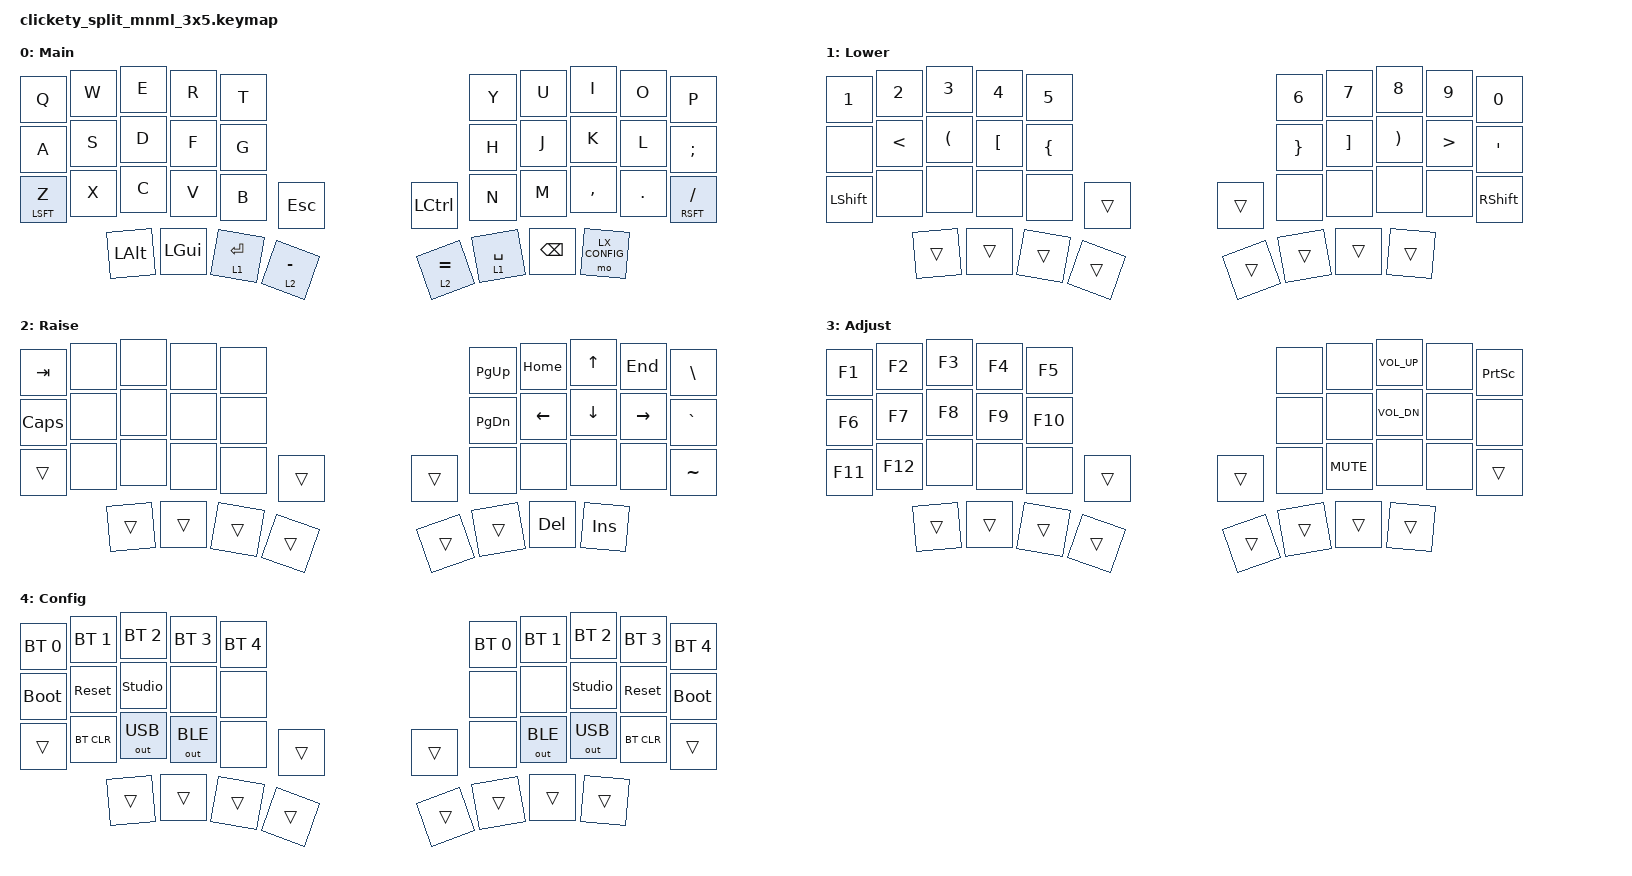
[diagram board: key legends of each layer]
/*
 * Copyright (c) 2025 Clickety Split Ltd.
 * SPDX-License-Identifier: MIT
 */

#include <behaviors.dtsi>
#include <dt-bindings/zmk/outputs.h>
#include <dt-bindings/zmk/keys.h>
#include <dt-bindings/zmk/bt.h>

#define LX_MAIN     0 // Main
#define LX_LOWER    1 // Lower
#define LX_RAISE    2 // Raise
#define LX_ADJUST   3 // Adjust
#define LX_CONFIG   4 // Config

/ {
    conditional_layers {
        compatible = "zmk,conditional-layers";
        lower_raise_adjust {
            if-layers = <LX_LOWER LX_RAISE>;
            then-layer = <LX_ADJUST>;
        };
    };

    keymap {
        compatible = "zmk,keymap";

        default_layer {
            // Leading space provides visual separation from the layer icon.
            // Layer references: 1 = Lower, 2 = Raise
            display-name = " Main";
            bindings = <
                &kp Q         &kp W         &kp E           &kp R         &kp T                                      &kp Y         &kp U        &kp I            &kp O         &kp P
                &kp A         &kp S         &kp D           &kp F         &kp G                                      &kp H         &kp J        &kp K            &kp L         &kp SEMI
                &mt LSFT Z    &kp X         &kp C           &kp V         &kp B         &kp ESC         &kp LCTRL    &kp N         &kp M        &kp COMMA        &kp DOT       &mt RSFT FSLH
                                            &kp LALT        &kp LGUI      &lt 1 RET     &lt 2 MINUS     &lt 2 EQUAL  &lt 1 SPACE   &kp BSPC     &mo LX_CONFIG
            >;
        };

        lower_layer {
            display-name = " Lower";
            bindings = <
                &kp N1        &kp N2        &kp N3          &kp N4        &kp N5                                     &kp N6        &kp N7        &kp N8          &kp N9        &kp N0
                &none         &kp LT        &kp LPAR        &kp LBKT      &kp LBRC                                   &kp RBRC      &kp RBKT      &kp RPAR        &kp GT        &kp QUOT
                &kp LSHFT     &none         &none           &none         &none         &trans          &trans       &none         &none         &none           &none         &kp RSHFT
                                            &trans          &trans        &trans        &trans          &trans       &trans        &trans        &trans
            >;
        };

        raise_layer {
            display-name = " Raise";
            bindings = <
                &kp TAB       &none         &none           &none         &none                                      &kp PG_UP     &kp HOME      &kp UP          &kp END       &kp BSLH
                &kp CAPS      &none         &none           &none         &none                                      &kp PG_DN     &kp LEFT      &kp DOWN        &kp RIGHT     &kp GRAVE
                &trans        &none         &none           &none         &none         &trans          &trans       &none         &none         &none           &none         &kp TILDE
                                            &trans          &trans        &trans        &trans          &trans       &trans        &kp DEL       &kp INS
            >;
        };

        adjust_layer {
            display-name = " Adjust";
            bindings = <
                &kp F1        &kp F2        &kp F3          &kp F4        &kp F5                                     &none         &none         &kp C_VOL_UP    &none         &kp PSCRN
                &kp F6        &kp F7        &kp F8          &kp F9        &kp F10                                    &none         &none         &kp C_VOL_DN    &none         &none
                &kp F11       &kp F12       &none           &none         &none         &trans          &trans       &none         &kp C_MUTE    &none           &none         &trans
                                            &trans          &trans        &trans        &trans          &trans       &trans        &trans        &trans
            >;
        };

        config_layer {
            display-name = " Config";
            bindings = <
                &bt BT_SEL 0  &bt BT_SEL 1  &bt BT_SEL 2    &bt BT_SEL 3  &bt BT_SEL 4                               &bt BT_SEL 0  &bt BT_SEL 1  &bt BT_SEL 2    &bt BT_SEL 3  &bt BT_SEL 4
                &bootloader   &sys_reset    &studio_unlock  &none         &none                                      &none         &none         &studio_unlock  &sys_reset    &bootloader
                &trans        &bt BT_CLR    &out OUT_USB    &out OUT_BLE  &none         &trans          &trans       &none         &out OUT_BLE  &out OUT_USB    &bt BT_CLR    &trans
                                            &trans          &trans        &trans        &trans          &trans       &trans        &trans         &trans
            >;
        };

        extra1 {
            status = "reserved";
        };

        extra2 {
            status = "reserved";
        };

        extra3 {
            status = "reserved";
        };

        extra4 {
            status = "reserved";
        };

        extra5 {
            status = "reserved";
        };

    };
};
